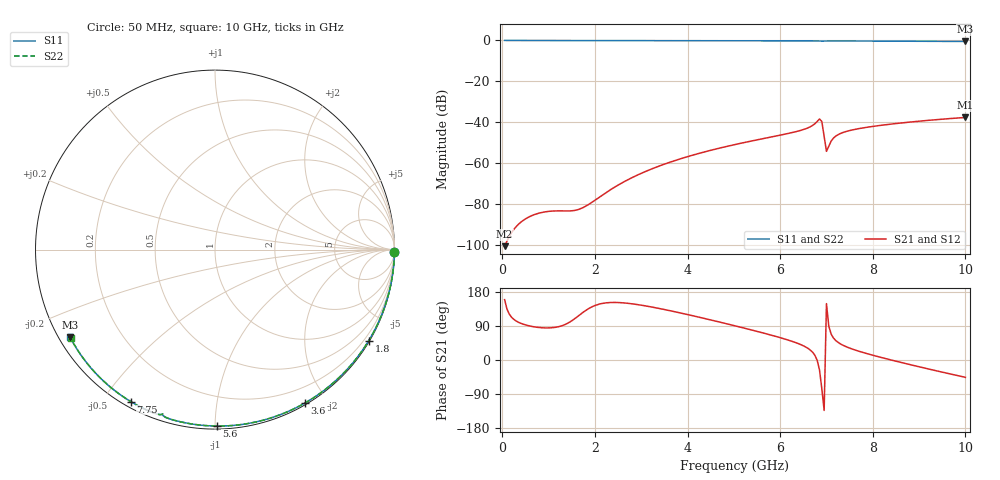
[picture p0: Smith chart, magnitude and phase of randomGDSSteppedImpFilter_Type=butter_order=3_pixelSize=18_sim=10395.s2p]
! freq	dB(S11)	phase(S11)	dB(S12)	phase(S12)
!  dB(S21)	phase(S21)	dB(S22)	phase(S22)
!S-par simulation data
#  GHz  S  DB  R 50
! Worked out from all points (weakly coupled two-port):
!   200 points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, 50 MHz to 10 GHz, reference 50 ohm
!   highest |S21| = -37.72 dB at 10 GHz (marker M1); lowest = -100.8 dB at 50 MHz (marker M2)
!   lowest |S11| = -0.5 dB at 10 GHz (marker M3), VSWR 34.49, Z = 1.56 - j13.9 ohm
!   |S11| at or under -10 dB: nowhere
!   |S22| runs from -0.5 to 0.0 dB; largest |S21 - S12| = 0
!   S11 on the Smith chart (normalised r, x): 50 MHz: open; 1.8 GHz: 0.03, -3.66; 3.6 GHz: 0.02, -1.75; 5.6 GHz: 0.02, -1.01; 7.75 GHz: 0.02, -0.59; 10 GHz: 0.03, -0.28
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0.05  -0.00 -0.9  -100.80 159.3  -100.80 159.3  -0.00 -0.9
0.9  -0.02 -15.4  -84.07 84.7  -84.07 84.7  -0.02 -15.4
1.75  -0.04 -29.8  -81.83 126.3  -81.83 126.3  -0.04 -29.7
1.8  -0.04 -30.6  -81.22 130.6  -81.22 130.6  -0.04 -30.6
1.9  -0.04 -32.2  -79.84 138.1  -79.84 138.1  -0.04 -32.2
2.35  -0.05 -39.7  -72.93 151.8  -72.93 151.8  -0.05 -39.6
2.75  -0.06 -46.1  -67.80 149.1  -67.80 149.1  -0.06 -46.1
3.4  -0.08 -56.5  -61.43 135.7  -61.43 135.7  -0.07 -56.5
3.6  -0.08 -59.6  -59.81 130.7  -59.81 130.7  -0.08 -59.6
5.05  -0.13 -81.5  -50.87 89.5  -50.87 89.5  -0.12 -81.5
5.6  -0.15 -89.5  -48.25 72.4  -48.25 72.4  -0.15 -89.4
6.4  -0.19 -100.8  -44.34 42.9  -44.34 42.9  -0.19 -100.7
6.7  -0.21 -105.1  -41.65 20.6  -41.65 20.6  -0.21 -105.0
6.85  -0.27 -107.4  -38.49 -26.4  -38.49 -26.4  -0.28 -107.4
6.9  -0.33 -107.7  -39.71 -75.8  -39.71 -75.8  -0.35 -107.6
7  -0.26 -108.7  -54.33 148.8  -54.33 148.8  -0.27 -108.5
7.1  -0.25 -110.1  -49.36 68.7  -49.36 68.7  -0.25 -110.0
7.2  -0.25 -111.5  -46.86 51.4  -46.86 51.4  -0.25 -111.4
7.4  -0.26 -114.3  -44.77 36.5  -44.77 36.5  -0.26 -114.1
7.75  -0.28 -119.0  -43.00 21.3  -43.00 21.3  -0.28 -118.8
8.35  -0.33 -127.0  -41.10 1.4  -41.10 1.4  -0.33 -126.8
10  -0.50 -148.8  -37.72 -45.8  -37.72 -45.8  -0.51 -148.4
